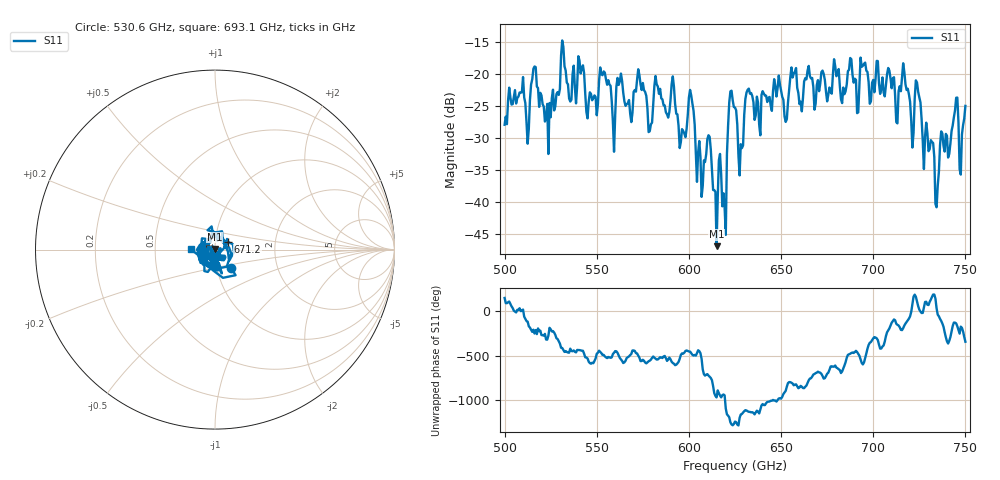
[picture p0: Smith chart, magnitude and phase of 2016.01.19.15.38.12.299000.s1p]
!Created with skrf (http://scikit-rf.org).
# GHz S RI R 50.0
!freq ReS11 ImS11
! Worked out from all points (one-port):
!   401 points, 500 GHz to 750 GHz, reference 50 ohm
!   lowest |S11| = -46.8 dB at 615 GHz (marker M1), VSWR 1.01, Z = 49.8 + j0.422 ohm
!   |S11| at or under -10 dB: start of sweep to end of sweep
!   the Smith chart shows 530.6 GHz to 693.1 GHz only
!   S11 on the Smith chart (normalised r, x): 530.6 GHz: 1.17, -0.25; 671.2 GHz: 1.15, +0.10; 693.1 GHz: 0.76, +0.00
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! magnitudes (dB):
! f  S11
! 500 GHz  -27.9
! 512.5 GHz  -30.9
! 515.6 GHz  -19.2
! 523.8 GHz  -32.5
! 530.6 GHz  -17.1
! 531.2 GHz  -14.8
! 553.1 GHz  -20.2
! 558.8 GHz  -27.4
! 562.5 GHz  -21.1
! 593.8 GHz  -26.3
! 601.2 GHz  -23.3
! 605.6 GHz  -30.4
! 610.6 GHz  -29.5
! 615 GHz  -46.8
! 619.4 GHz  -40.9
! 622.5 GHz  -22.7
! 625 GHz  -25.2
! 628.1 GHz  -30.9
! 631.9 GHz  -22.4
! 652.5 GHz  -27.5
! 656.2 GHz  -20.5
! 671.2 GHz  -21.5
! 687.5 GHz  -17.5
! 693.1 GHz  -17.4
! 718.8 GHz  -22.3
! 724.4 GHz  -22.8
! 734.4 GHz  -40.8
! 750 GHz  -25.0
